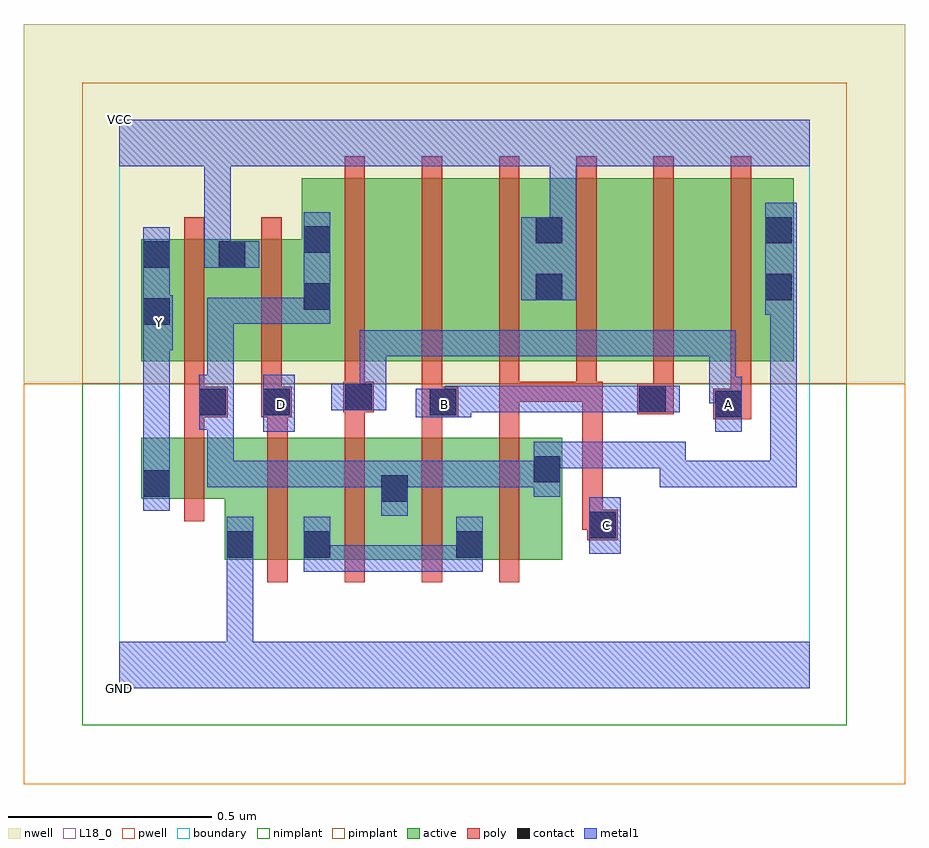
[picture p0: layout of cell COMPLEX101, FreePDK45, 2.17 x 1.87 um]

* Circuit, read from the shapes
.subckt COMPLEX101 A B C D GND VCC Y
M1 GND n1 Y VSUBS nfet w=0.15u l=0.05u
M2 n2 D GND VSUBS nfet w=0.3u l=0.05u
M3 n1 A n2 VSUBS nfet w=0.3u l=0.05u
M4 n2 B n1 VSUBS nfet w=0.3u l=0.05u
M5 n1 C n2 VSUBS nfet w=0.3u l=0.05u
M6 VCC n1 Y n3 pfet w=0.3u l=0.05u
M7 n1 D VCC n3 pfet w=0.3u l=0.05u
M8 n4 A n1 n3 pfet w=0.45u l=0.05u
M9 n5 B n4 n3 pfet w=0.45u l=0.05u
M10 VCC C n5 n3 pfet w=0.45u l=0.05u
M11 n6 C VCC n3 pfet w=0.45u l=0.05u
M12 n7 B n6 n3 pfet w=0.45u l=0.05u
M13 n1 A n7 n3 pfet w=0.45u l=0.05u
.ends

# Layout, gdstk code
import gdstk
lib = gdstk.Library(unit=1e-6, precision=1e-09)
def R(c, l, rs):  # rectangles x0, y0, x1, y1
    for r in rs: c.add(gdstk.rectangle(r[:2], r[2:], *l))
def A(c, l, x, y, w, h, nx, ny, dx, dy):  # array of equal rectangles
    R(c, l, [(x+i*dx, y+j*dy, x+i*dx+w, y+j*dy+h) for i in range(nx) for j in range(ny)])
active = (1, 0)
pwell = (2, 0)
nwell = (3, 0)
nimplant = (4, 0)
pimplant = (5, 0)
poly = (9, 0)
contact = (10, 0)
metal1 = (11, 0)
L18_0 = (18, 0)
boundary = (235, 0)

complex101 = lib.new_cell('COMPLEX101')
R(complex101, active, [(0.26,0.317,0.525,0.617), (0.26,0.317,0.335,0.547), (0.45,0.317,0.715,0.617), (0.45,0.317,0.525,0.547), (0.64,0.317,0.9,0.617), (0.825,0.317,1.09,0.617), (0.825,0.317,0.9,0.547), (0.64,0.382,0.715,0.53), (1.015,0.395,1.09,0.617), (0.055,0.467,0.335,0.617), (0.055,0.467,0.13,0.617), (0.055,0.805,0.315,1.105), (0.055,0.805,0.13,1.105), (0.24,0.805,0.525,1.105), (0.45,0.805,0.525,1.2), (0.45,0.805,0.675,1.255), (0.675,0.805,0.865,1.255), (0.865,0.805,1.095,1.255), (1.02,0.805,1.245,1.255), (1.02,0.805,1.095,1.255), (1.245,0.805,1.435,1.255), (1.435,0.805,1.66,1.255), (1.585,0.805,1.66,1.2), (0.24,1.007,0.315,1.105)])
R(complex101, pwell, [(-0.235,-0.235,1.935,0.75)])
R(complex101, nwell, [(-0.235,0.75,1.935,1.635)])
R(complex101, nimplant, [(-0.09,-0.09,1.79,0.75)])
R(complex101, pimplant, [(-0.09,0.75,1.79,1.49)])
A(complex101, poly, 0.365, 0.262, 0.05, 0.41, 4, 1, 0.19, 0)
A(complex101, poly, 0.555, 0.75, 0.05, 0.56, 6, 1, 0.19, 0)
R(complex101, poly, [(1.152,0.365,1.227,0.44), (1.14,0.39,1.19,0.755), (1.14,0.39,1.202,0.44), (1.152,0.39,1.202,0.44), (0.16,0.412,0.21,0.672), (0.16,0.622,0.21,0.717), (0.365,0.622,0.415,0.717), (0.555,0.622,0.605,0.73), (0.745,0.622,0.795,0.717), (0.935,0.622,0.985,0.755), (1.462,0.662,1.555,0.737), (0.16,0.667,0.267,0.742), (0.35,0.667,0.425,0.742), (0.745,0.667,0.835,0.742), (1.275,0.675,1.365,0.75), (0.552,0.68,0.627,0.755), (1.505,0.687,1.555,0.8), (0.16,0.692,0.21,0.8), (0.35,0.692,0.4,0.8), (0.745,0.692,0.795,0.8), (1.315,0.7,1.365,0.8), (0.555,0.705,0.605,0.8), (0.935,0.705,0.985,0.8), (0.935,0.705,1.175,0.755), (0.935,0.705,0.985,0.755), (0.935,0.705,0.985,0.755), (0.935,0.705,0.985,0.755), (1.125,0.705,1.175,0.8), (1.125,0.705,1.19,0.755), (0.16,0.75,0.21,1.16), (0.35,0.75,0.4,1.16)])
R(complex101, contact, [(0.265,0.322,0.33,0.387), (0.455,0.322,0.52,0.387), (0.83,0.322,0.895,0.387), (1.157,0.37,1.222,0.435), (0.645,0.46,0.71,0.525), (0.06,0.472,0.125,0.537), (1.02,0.507,1.085,0.572), (1.467,0.667,1.532,0.732), (0.197,0.672,0.262,0.737), (0.355,0.672,0.42,0.737), (0.765,0.672,0.83,0.737), (1.28,0.68,1.345,0.745), (0.557,0.685,0.622,0.75), (0.06,0.895,0.125,0.96), (0.455,0.932,0.52,0.997), (1.025,0.955,1.09,1.02), (1.59,0.955,1.655,1.02), (0.06,1.035,0.125,1.1), (0.245,1.035,0.31,1.1), (0.455,1.072,0.52,1.137), (1.025,1.095,1.09,1.16), (1.59,1.095,1.655,1.16)])
R(complex101, metal1, [(0,0,1.7,0.115), (0.265,0.05,0.33,0.352), (0.265,0.287,0.33,0.352), (0.265,0.287,0.33,0.352), (0.265,0.287,0.33,0.352), (0.265,0.287,0.33,0.352), (0.265,0.287,0.33,0.422), (0.455,0.287,0.52,0.422), (0.455,0.287,0.657,0.352), (0.592,0.287,0.657,0.352), (0.592,0.287,0.657,0.352), (0.592,0.287,0.657,0.352), (0.592,0.287,0.895,0.352), (0.83,0.287,0.895,0.352), (0.83,0.287,0.895,0.352), (0.83,0.287,0.895,0.422), (1.157,0.332,1.235,0.47), (0.645,0.425,0.71,0.56), (0.06,0.437,0.125,0.572), (1.02,0.472,1.085,0.607), (0.217,0.495,0.282,0.56), (0.217,0.495,0.45,0.56), (0.217,0.495,0.282,0.702), (0.385,0.495,0.45,0.56), (0.385,0.495,0.45,0.56), (0.385,0.495,0.45,0.56), (0.385,0.495,0.587,0.56), (0.522,0.495,0.587,0.56), (0.522,0.495,0.71,0.56), (0.645,0.495,0.897,0.56), (0.832,0.495,0.897,0.56), (0.832,0.495,0.897,0.56), (0.832,0.495,0.897,0.56), (0.832,0.495,1.035,0.56), (0.97,0.495,1.035,0.56), (0.97,0.495,1.085,0.56), (1.33,0.495,1.517,0.56), (1.33,0.495,1.395,0.607), (1.452,0.495,1.517,0.56), (1.452,0.495,1.667,0.56), (1.602,0.495,1.667,0.56), (1.602,0.495,1.667,0.56), (1.602,0.495,1.667,0.56), (1.602,0.495,1.667,0.985), (0.06,0.507,0.125,0.897), (1.02,0.542,1.172,0.607), (1.107,0.542,1.172,0.607), (1.107,0.542,1.38,0.607), (1.315,0.542,1.38,0.607), (1.315,0.542,1.395,0.607), (0.355,0.632,0.432,0.772), (1.467,0.632,1.532,0.767), (0.197,0.637,0.262,0.772), (0.197,0.637,0.282,0.702), (0.217,0.637,0.282,0.702), (0.217,0.637,0.282,0.962), (0.73,0.667,0.867,0.737), (0.802,0.672,0.867,0.737), (0.802,0.672,0.867,0.745), (0.802,0.68,1.035,0.745), (0.97,0.68,1.035,0.745), (0.97,0.68,1.172,0.745), (1.107,0.68,1.172,0.745), (1.107,0.68,1.172,0.745), (1.107,0.68,1.172,0.745), (1.107,0.68,1.31,0.745), (1.245,0.68,1.31,0.745), (1.245,0.68,1.31,0.745), (1.245,0.68,1.38,0.745), (0.522,0.685,0.657,0.75), (0.592,0.685,0.657,0.75), (0.592,0.685,0.657,0.75), (0.592,0.685,0.657,0.882), (1.452,0.702,1.517,0.767), (1.452,0.702,1.532,0.767), (1.452,0.702,1.517,0.882), (0.592,0.817,0.657,0.882), (0.592,0.817,0.847,0.882), (0.782,0.817,0.847,0.882), (0.782,0.817,0.847,0.882), (0.782,0.817,0.847,0.882), (0.782,0.817,1.035,0.882), (0.97,0.817,1.035,0.882), (0.97,0.817,1.172,0.882), (1.107,0.817,1.172,0.882), (1.107,0.817,1.172,0.882), (1.107,0.817,1.172,0.882), (1.107,0.817,1.31,0.882), (1.245,0.817,1.31,0.882), (1.245,0.817,1.31,0.882), (1.245,0.817,1.31,0.882), (1.245,0.817,1.517,0.882), (1.452,0.817,1.517,0.882), (0.06,0.832,0.132,0.967), (0.06,0.86,0.125,0.925), (0.06,0.86,0.125,1.135), (0.217,0.897,0.282,0.962), (0.217,0.897,0.45,0.962), (0.385,0.897,0.45,0.962), (0.385,0.897,0.52,0.962), (0.455,0.897,0.52,1.172), (1.59,0.92,1.667,1.195), (1.602,0.92,1.667,0.985), (1.602,0.92,1.667,0.985), (0.99,0.955,1.125,1.16), (0.21,1.035,0.275,1.1), (0.21,1.035,0.275,1.1), (0.21,1.035,0.345,1.1), (0.21,1.035,0.275,1.35), (1.06,1.095,1.125,1.35), (0,1.285,1.7,1.4)])
R(complex101, L18_0, [(0,0,1.7,0.115), (0.265,0.05,0.33,0.352), (0.265,0.287,0.33,0.422), (0.265,0.287,0.33,0.352), (0.265,0.287,0.33,0.352), (0.265,0.287,0.33,0.352), (0.265,0.287,0.33,0.352), (1.157,0.332,1.235,0.47), (1.167,0.367,1.232,0.432), (0.06,0.437,0.125,0.572), (0.06,0.507,0.125,0.897), (0.355,0.632,0.432,0.772), (1.467,0.632,1.532,0.767), (0.367,0.667,0.432,0.732), (0.73,0.667,0.867,0.737), (0.767,0.667,0.832,0.732), (1.467,0.667,1.532,0.732), (0.802,0.672,0.867,0.737), (0.802,0.672,0.867,0.745), (0.802,0.68,1.035,0.745), (0.97,0.68,1.035,0.745), (0.97,0.68,1.172,0.745), (1.107,0.68,1.172,0.745), (1.107,0.68,1.172,0.745), (1.107,0.68,1.172,0.745), (1.107,0.68,1.31,0.745), (1.245,0.68,1.31,0.745), (1.245,0.68,1.31,0.745), (1.245,0.68,1.38,0.745), (0.522,0.685,0.657,0.75), (0.592,0.685,0.657,0.75), (0.592,0.685,0.657,0.75), (0.592,0.685,0.657,0.882), (1.452,0.702,1.517,0.767), (1.452,0.702,1.517,0.882), (1.452,0.702,1.532,0.767), (0.592,0.817,0.657,0.882), (0.592,0.817,0.847,0.882), (0.782,0.817,0.847,0.882), (0.782,0.817,0.847,0.882), (0.782,0.817,0.847,0.882), (0.782,0.817,1.035,0.882), (0.97,0.817,1.035,0.882), (0.97,0.817,1.172,0.882), (1.107,0.817,1.172,0.882), (1.107,0.817,1.172,0.882), (1.107,0.817,1.172,0.882), (1.107,0.817,1.31,0.882), (1.245,0.817,1.31,0.882), (1.245,0.817,1.31,0.882), (1.245,0.817,1.31,0.882), (1.245,0.817,1.517,0.882), (1.452,0.817,1.517,0.882), (0.06,0.832,0.132,0.967), (0.06,0.86,0.125,1.135), (0.06,0.86,0.125,0.925), (0.067,0.867,0.132,0.932), (0.99,0.955,1.125,1.16), (0.21,1.035,0.275,1.1), (0.21,1.035,0.275,1.1), (0.21,1.035,0.345,1.1), (0.21,1.035,0.275,1.35), (1.06,1.095,1.125,1.35), (0,1.285,1.7,1.4)])
R(complex101, boundary, [(0,0,1.7,1.4)])
complex101.add(gdstk.Label('A', (1.5,0.7), layer=11, texttype=0))
complex101.add(gdstk.Label('B', (0.8,0.7), layer=11, texttype=0))
complex101.add(gdstk.Label('C', (1.2,0.4), layer=11, texttype=0))
complex101.add(gdstk.Label('D', (0.4,0.7), layer=11, texttype=0))
complex101.add(gdstk.Label('Y', (0.1,0.9), layer=11, texttype=0))
complex101.add(gdstk.Label('VCC', (0,1.4), layer=11, texttype=0))
complex101.add(gdstk.Label('GND', (0,0), layer=11, texttype=0))

lib.write_gds('COMPLEX101.gds')
